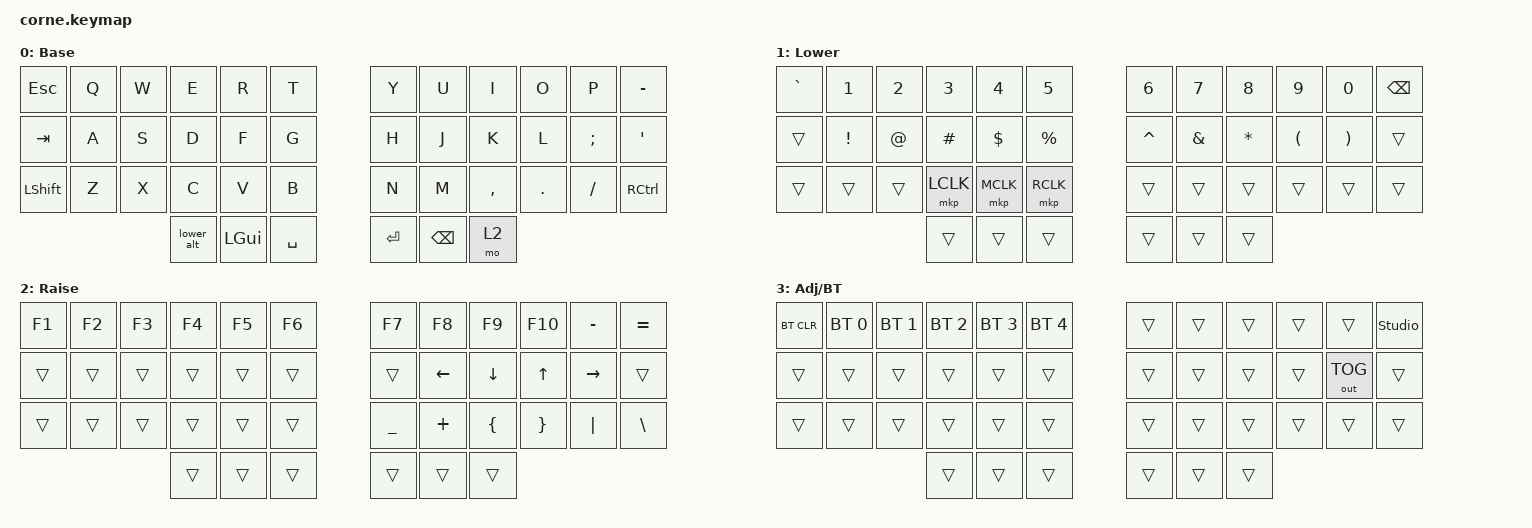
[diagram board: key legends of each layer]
#include <behaviors.dtsi>
#include <dt-bindings/zmk/keys.h>
#include <dt-bindings/zmk/bt.h>
#include <dt-bindings/zmk/outputs.h>
#include <dt-bindings/zmk/pointing.h>

/*
 * Custom pin mapping for non-standard AliExpress Corne PCB.
 * Standard Corne: cols=21,20,19,18,15,14  rows=4,5,6,7
 * This PCB:       cols=20,8,7,6,5,4       rows=19,18,15,14
 */
&kscan0 {
    row-gpios
        = <&pro_micro 19 (GPIO_ACTIVE_HIGH | GPIO_PULL_DOWN)>
        , <&pro_micro 18 (GPIO_ACTIVE_HIGH | GPIO_PULL_DOWN)>
        , <&pro_micro 15 (GPIO_ACTIVE_HIGH | GPIO_PULL_DOWN)>
        , <&pro_micro 14 (GPIO_ACTIVE_HIGH | GPIO_PULL_DOWN)>
        ;
    col-gpios
        = <&pro_micro 20 GPIO_ACTIVE_HIGH>
        , <&pro_micro 8 GPIO_ACTIVE_HIGH>
        , <&pro_micro 7 GPIO_ACTIVE_HIGH>
        , <&pro_micro 6 GPIO_ACTIVE_HIGH>
        , <&pro_micro 5 GPIO_ACTIVE_HIGH>
        , <&pro_micro 4 GPIO_ACTIVE_HIGH>
        ;
};

/*
 * Custom behaviors.
 * Left thumb leftmost: mo(lower) single-tap, Alt on double-press-and-hold.
 */

/ {
    behaviors {
        lower_alt: lower_alt_tap_dance {
            compatible = "zmk,behavior-tap-dance";
            #binding-cells = <0>;
            tapping-term-ms = <200>;
            bindings = <&mo 1>, <&kp LALT>;
        };
    };

    /*
     * Layer indices:
     *   0  default
     *   1  lower  (numbers + shift-num symbols)
     *   2  raise  (F-keys + arrows + math symbols)
     *   3  adjust (BT + studio unlock; lower+raise held -> this)
     *
     * Touchpad hardware + split input forwarding live in corne_right.overlay
     * and corne_left.overlay. Shared keymap must NOT reference &tps43.
     */

    conditional_layers {
        compatible = "zmk,conditional-layers";
        adjust {
            if-layers = <1 2>;
            then-layer = <3>;
        };
    };

    keymap {
        compatible = "zmk,keymap";

        /* ╭─────────────────────────┬─────────────────────────╮
         * │ Esc/` Q  W  E  R  T     │   Y  U  I  O  P   -_    │
         * │ Tab   A  S  D  F  G     │   H  J  K  L  ;   '     │
         * │ Sft   Z  X  C  V  B     │   N  M  ,  .  /   Ctrl  │
         * ╰──────────╮ Lw GUI Spc   │   Ent Bsp Rse ╭─────────╯
         */
        default_layer {
            display-name = "Base";
            bindings = <
                &kp ESC   &kp Q &kp W &kp E &kp R &kp T   &kp Y &kp U  &kp I     &kp O   &kp P    &kp MINUS
                &kp TAB   &kp A &kp S &kp D &kp F &kp G   &kp H &kp J  &kp K     &kp L   &kp SEMI &kp SQT
                &kp LSHFT &kp Z &kp X &kp C &kp V &kp B   &kp N &kp M  &kp COMMA &kp DOT &kp FSLH &kp RCTRL
                            &lower_alt &kp LGUI &kp SPACE   &kp RET &kp BSPC &mo 2
            >;
        };

        /* Lower — numbers + shift-number symbols + mouse clicks. Held by
         * left thumb so right hand stays on the touchpad. Mouse clicks
         * (LCLK/MCLK/RCLK) on left-hand C/V/B for click-while-pointing. */
        lower_layer {
            display-name = "Lower";
            bindings = <
                &kp GRAVE &kp N1   &kp N2 &kp N3    &kp N4    &kp N5      &kp N6    &kp N7   &kp N8   &kp N9   &kp N0    &kp BSPC
                &trans    &kp EXCL &kp AT &kp HASH  &kp DLLR  &kp PRCNT   &kp CARET &kp AMPS &kp STAR &kp LPAR &kp RPAR  &trans
                &trans    &trans   &trans &mkp LCLK &mkp MCLK &mkp RCLK   &trans    &trans   &trans   &trans   &trans    &trans
                                       &trans &trans &trans   &trans &trans   &trans
            >;
        };

        /* Raise — arrows + F-keys + math symbols. Held by right thumb.
         * JKL; arrows on right home row (Lily one-off-vim pattern).
         * MINUS + EQUAL grouped calculator-style top-right.
         * F-keys on top row where they don't conflict with arrows. */
        raise_layer {
            display-name = "Raise";
            bindings = <
                &kp F1    &kp F2   &kp F3 &kp F4   &kp F5   &kp F6      &kp F7 &kp F8   &kp F9   &kp F10 &kp MINUS &kp EQUAL
                &trans    &trans   &trans &trans   &trans   &trans      &trans &kp LEFT &kp DOWN &kp UP  &kp RIGHT &trans
                &trans    &trans   &trans &trans   &trans   &trans      &kp UNDER &kp PLUS &kp LBRC &kp RBRC &kp PIPE &kp BSLH
                                          &trans   &trans   &trans      &trans &trans   &trans
            >;
        };

        /* Adjust — BT controls + output toggle + Studio unlock.
         * Lower + Raise held together (via conditional_layers above) to
         * access. &out OUT_TOG flips USB <-> BLE HID output (use to test
         * BT pairing while a USB cable is connected). Mouse clicks live
         * on Lower (C/V/B) so they're accessible while right hand is on
         * the touchpad — no need for Lower+Raise dance to click. */
        adjust_layer {
            display-name = "Adj/BT";
            bindings = <
                &bt BT_CLR &bt BT_SEL 0 &bt BT_SEL 1 &bt BT_SEL 2 &bt BT_SEL 3 &bt BT_SEL 4   &trans &trans &trans &trans &trans       &studio_unlock
                &trans     &trans       &trans       &trans       &trans       &trans             &trans &trans &trans &trans &out OUT_TOG &trans
                &trans     &trans       &trans       &trans       &trans       &trans             &trans &trans &trans &trans &trans       &trans
                                                     &trans       &trans       &trans             &trans &trans &trans
            >;
        };
    };
};
